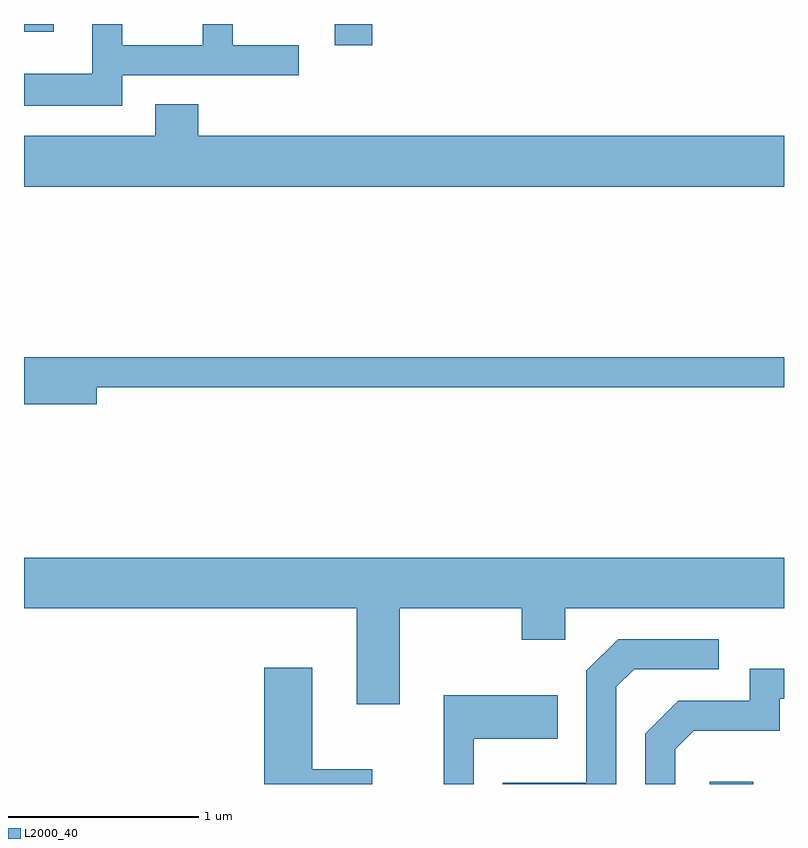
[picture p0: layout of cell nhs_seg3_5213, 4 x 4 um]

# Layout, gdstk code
import gdstk
lib = gdstk.Library(unit=1e-6, precision=1e-09)
def R(c, l, rs):  # rectangles x0, y0, x1, y1
    for r in rs: c.add(gdstk.rectangle(r[:2], r[2:], *l))
def P(c, l, *ps):  # polygons
    for p in ps: c.add(gdstk.Polygon(p, *l))
L2000_40 = (2000, 40)

nhs_seg3_5213 = lib.new_cell('nhs_seg3_5213')
R(nhs_seg3_5213, L2000_40, [(341.221,1213.892,341.449,1213.904), (339.246,1217.781,339.444,1217.892), (337.611,1217.851,337.768,1217.892)])
P(nhs_seg3_5213, L2000_40, [(338.129,1217.621),(339.058,1217.621),(339.058,1217.779),(338.709,1217.779),(338.709,1217.892),(338.551,1217.892),(338.551,1217.779),(338.129,1217.779),(338.129,1217.892),(337.971,1217.892),(337.971,1217.629),(337.611,1217.629),(337.611,1217.461),(338.129,1217.461)],
  [(341.611,1217.304),(338.529,1217.304),(338.529,1217.469),(338.301,1217.469),(338.301,1217.304),(337.611,1217.304),(337.611,1217.036),(341.611,1217.036)],
  [(337.994,1215.981),(341.611,1215.981),(341.611,1216.139),(337.611,1216.139),(337.611,1215.891),(337.994,1215.891)],
  [(339.589,1214.816),(340.231,1214.816),(340.231,1214.651),(340.459,1214.651),(340.459,1214.816),(341.611,1214.816),(341.611,1215.084),(337.611,1215.084),(337.611,1214.816),(339.361,1214.816),(339.361,1214.311),(339.589,1214.311)],
  [(340.729,1214.404),(340.822,1214.496),(341.268,1214.496),(341.268,1214.654),(340.739,1214.654),(340.571,1214.487),(340.571,1213.899),(340.131,1213.899),(340.131,1213.892),(340.729,1213.892)],
  [(339.444,1213.969),(339.129,1213.969),(339.129,1214.504),(338.876,1214.504),(338.876,1213.892),(339.444,1213.892)],
  [(341.039,1214.074),(341.137,1214.171),(341.589,1214.171),(341.589,1214.341),(341.611,1214.341),(341.611,1214.499),(341.431,1214.499),(341.431,1214.329),(341.054,1214.329),(340.881,1214.157),(340.881,1213.892),(341.039,1213.892)],
  [(339.979,1214.131),(340.419,1214.131),(340.419,1214.359),(339.821,1214.359),(339.821,1213.892),(339.979,1213.892)])

lib.write_gds('nhs_seg3_5213.gds')
